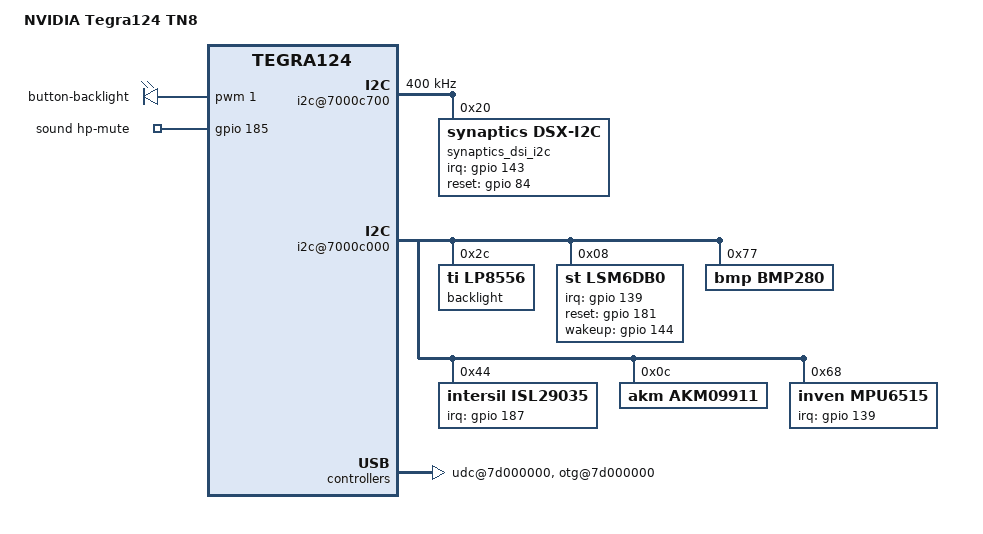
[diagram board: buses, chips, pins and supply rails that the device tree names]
/dts-v1/;

#include "tegra124.dtsi"
#include "tegra124-tn8.dtsi"
#include "tegra124-platforms/tegra124-tn8-emc-e1922-1100-a00.dtsi"
#include "tegra124-platforms/tegra124-tn8-pmic-e1736-1000-a00.dtsi"
#include "tegra124-platforms/tegra124-tn8-fixed-e1736-1000-a00.dtsi"

/* this is static dtsi files */
#include "tegra124-platforms/tegra124-mocha-gpio-e1780.dtsi"
#include "tegra124-platforms/tegra124-mocha-keys-e1780.dtsi"
#include "tegra124-platforms/tegra124-mocha-pinmux-e1780.dtsi"
/* end of static dtsi files */

#include "tegra124-platforms/tegra124-mocha-sysedp.dtsi"

/ {
	model = "NVIDIA Tegra124 TN8";
	compatible = "nvidia,mocha", "nvidia,tegra124";
	nvidia,dtsfilename = __FILE__;
	nvidia,boardids = "1780:1100:3:A:7","1845:1000:0:A:7";
	#address-cells = <1>;
	#size-cells = <1>;

	chosen {
		bootargs = "tegraid=40.0.0.00.00 vmalloc=256M video=tegrafb console=ttyS0,115200n8 earlyprintk";
		linux,initrd-start = <0x85000000>;
		linux,initrd-end = <0x851bc400>;
	};

	i2c@7000c700 {
		nvidia,clock-always-on;
		clock-frequency = <400000>;

    synaptics_dsi_i2c@20 {
			compatible = "synaptics,dsx-i2c";
			reg = <0x20>;

			synaptics,x-flip = <0>;
			synaptics,y-flip = <0>;
			synaptics,swap-axes = <0>;
			synaptics,irq-gpio = <&gpio 143 0>;
			synaptics,irq-on-state = <0>;
			synaptics,power-on-state = <1>;
			synaptics,reset-gpio = <&gpio 84 0>;
			synaptics,reset-on-state = <0>;
			synaptics,irq-flags = <0x2008>;
			synaptics,fw-name = "synaptics_7040_firmware.fw";
			synaptics,self-test-name = "synaptics_7040_test_data.fw";
			synaptics,panel-x = <1536>;
			synaptics,panel-y = <2048>;
			synaptics,power-delay-ms = <160>;
			synaptics,reset-delay-ms = <100>;
			synaptics,reset-active-ms = <20>;
			synaptics,byte-delay-us = <30>;
			synaptics,block-delay-us = <30>;
			synaptics,regulator-name = "vdd-touch";
			synaptics,cap-button-map = <139 102 158 116>;
		};

	};

	i2c@7000c000 {
		backlight@2c {
			compatible = "ti,lp8556";
			reg = <0x2c>;

			dev-ctrl = /bits/ 8 <0x83>;
			init-brt = /bits/ 8 <0x1f>;
			led-en   = /bits/ 8 <0x0f>;

			rom_98h {
				rom-addr = /bits/ 8 <0x98>;
				rom-val = /bits/ 8 <0x80>;
			};
			rom_9eh {
				rom-addr = /bits/ 8 <0x9e>;
				rom-val = /bits/ 8 <0x21>;
			};
			rom_a0h {
				rom-addr = /bits/ 8 <0xa0>;
				rom-val = /bits/ 8 <0xff>;
			};
			rom_a1h {
				rom-addr = /bits/ 8 <0xa1>;
				rom-val = /bits/ 8 <0x3f>;
			};
			rom_a2h {
				rom-addr = /bits/ 8 <0xa2>;
				rom-val = /bits/ 8 <0x20>;
			};
			rom_a3h {
				rom-addr = /bits/ 8 <0xa3>;
				rom-val = /bits/ 8 <0x00>;
			};
			rom_a4h {
				rom-addr = /bits/ 8 <0xa4>;
				rom-val = /bits/ 8 <0x72>;
			};
			rom_a5h {
				rom-addr = /bits/ 8 <0xa5>;
				rom-val = /bits/ 8 <0x24>;
			};
			rom_a6h {
				rom-addr = /bits/ 8 <0xa6>;
				rom-val = /bits/ 8 <0x80>;
			};
			rom_a7h {
				rom-addr = /bits/ 8 <0xa7>;
				rom-val = /bits/ 8 <0xf5>;
			};
			rom_a8h {
				rom-addr = /bits/ 8 <0xa8>;
				rom-val = /bits/ 8 <0x24>;
			};
			rom_a9h {
				rom-addr = /bits/ 8 <0xa9>;
				rom-val = /bits/ 8 <0xb2>;
			};
			rom_aah {
				rom-addr = /bits/ 8 <0xaa>;
				rom-val = /bits/ 8 <0x8f>;
			};
			rom_aeh {
				rom-addr = /bits/ 8 <0xae>;
				rom-val = /bits/ 8 <0x0f>;
			};
		};

		lsm6db0@08 {
			compatible = "st,lsm6db0";
			reg = <0x08>;

			st,irq-gpio = <&gpio 139 0x00>;
			st,reset-gpio = <&gpio 181 0x00>;
			st,wakeup-gpio = <&gpio 144 0x00>;
		};

		bmp280@77 {
			compatible = "bmp,bmp280";
			reg = <0x77>;
		};

		isl29035@44 {
			compatible = "intersil,isl29035";
			reg = <0x44>;
			interrupt-parent = <&gpio>;
			interrupts = <187 0x08>;

			als_factor = <16>;
			als_highrange = <2>;
			als_lowthres = <0x0e00>;
			als_highthres = <0xf800>;
			als_sensitive = <25>;
		};

		akm09911@0c {
			compatible = "akm,akm09911";
			reg = <0x0c>;

			akm,layout = <6>;
			akm,gpio_rst = <132>;
		};

		mpu6515@68 {
			compatible = "inven,mpu6515";
			reg = <0x68>;
			interrupt-parent = <&gpio>;
			interrupts = <139 0x01>;

			regulator_config = <0>;

			fs_range = <0x00>;
			axis_map_x = <0>;
			axis_map_y = <1>;
			axis_map_z = <2>;
			negate_x = <0>;
			negate_y = <1>;
			negate_z = <1>;
			poll_interval = <200>;
			min_interval = <5>;

			inven,secondary_type = "none";
			inven,secondary_reg = <0x0C>;
			inven,secondary_name = "ak8963";
			inven,secondary_axis_map_x = <1>;
			inven,secondary_axis_map_y = <0>;
			inven,secondary_axis_map_z = <2>;
			inven,secondary_negate_x = <0>;
			inven,secondary_negate_y = <0>;
			inven,secondary_negate_z = <1>;

			inven,aux_type = "none";
			inven,aux_reg = <0x76>;
			inven,aus_name = "bmp280";
		};
	};

	pwmleds {
		compatible = "pwm-leds";
		button_led {
			label = "button-backlight";
			pwms = <&pwm 1 10000>;
			max-brightness = <100>;
			max-duty = <50>;
		};
	};

    sound {
		compatible = "nvidia,tegra-audio-rt5671";
		nvidia,hp-mute-gpios = <&gpio 185 0>;
		nvidia,i2s-param-hifi = <0 0 2 16 2 48000>;
	};

	udc@7d000000 {
		status = "okay";
		nvidia,id-detection-type = <0x1>;
		nvidia,enable-pmu-vbus-detection;
		nvidia,enable-aca-rid-detection;
		extcon-cables = <&extcon_cable_xlate 0 &extcon_cable_xlate 2 &extcon_cable_xlate 5>;
		extcon-cable-names = "vbus", "aca-rb", "aca-rc";
		#extcon-cells = <0x1>;
	};
	
	otg@7d000000 {
		status = "okay";
		nvidia,enable-pmu-vbus-detection;
		nvidia,id-detection-type = <0x1>;
		nvidia,enable-y-cable-detection;
		nvidia,enable-aca-rid-detection;
		extcon-cables = <&extcon_cable_xlate 0 &extcon_cable_xlate 1 &extcon_cable_xlate 2 &extcon_cable_xlate 3 &extcon_cable_xlate 4 &extcon_cable_xlate 5>;
		extcon-cable-names = "vbus", "id", "aca-ra", "y-cable", "aca-rb", "aca-rc";
		#extcon-cells = <0x1>;
	};

	ehci@7d000000 {
		status = "disabled";
		nvidia,port-otg;
		nvidia,has-hostpc;
		nvidia,is-intf-utmi;
		nvidia,turn-off-vbus-on-lp0;
		nvidia,hssync-start-delay = <0>;
		nvidia,idle-wait-delay = <17>;
		nvidia,elastic-limit = <16>;
		nvidia,term-range-adj = <6>;
		nvidia,xcvr-setup = <15>;
		nvidia,xcvr-lsfslew = <0>;
		nvidia,xcvr-lsrslew = <3>;
		nvidia,xcvr-use-fuses;
		nvidia,vbus-oc-map = <4>;
		nvidia,xcvr-setup-offset = <0>;
	};

	therm_est_sensor {
		use_activator = <0>;
		subdev {
			coeff_set@0 {
				toffset = <3543>;
				coeffs = <
					2 2 1 1 1 0 0 0 0 0 0 0 0 0 0 0 0 0 2 3
					(-5) 1 0 1 1 0 1 1 0 2 (-1) 1 2 3 3 2 2 1 8 53
				>;
			};
		};
	};

	thermal-zones {
		therm_est {
			trips {
				skin_trip {
					temperature = <47000>;
				};
			};
		};
	};

};

